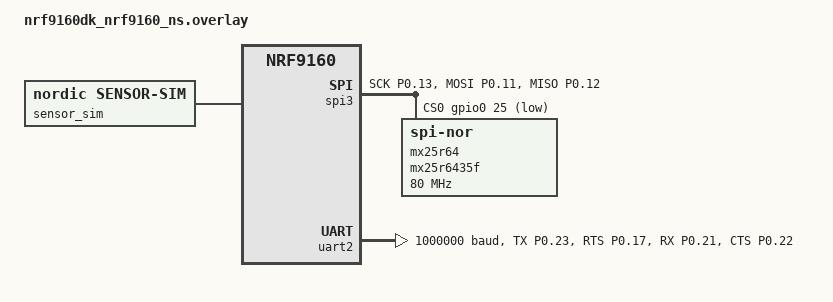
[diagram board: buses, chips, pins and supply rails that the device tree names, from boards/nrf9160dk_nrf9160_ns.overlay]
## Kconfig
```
#
# Copyright (c) 2018 Nordic Semiconductor ASA
#
# SPDX-License-Identifier: LicenseRef-Nordic-5-Clause
#

menu "Application sample"

rsource "src/ui/Kconfig"
rsource "src/modules/Kconfig"
rsource "src/lwm2m/Kconfig"

menu "LwM2M objects"
config APP_PUSH_BUTTON
	bool "Enable button(s)"
	select UI_INPUT
	select LWM2M_IPSO_PUSH_BUTTON
	select LWM2M_APP_PUSH_BUTTON


config APP_ONOFF_SWITCH
	bool "Enable switches"
	depends on BOARD_NRF9160DK_NRF9160_NS
	select UI_INPUT
	select LWM2M_IPSO_ONOFF_SWITCH
	select LWM2M_APP_ONOFF_SWITCH


menuconfig APP_LIGHT_CONTROL
	bool "Enable LED(s)"
	select UI_LED
	select LWM2M_IPSO_LIGHT_CONTROL
	select LWM2M_APP_LIGHT_CONTROL

if APP_LIGHT_CONTROL
	rsource "src/ui/Kconfig.ui_led"
endif # APP_LIGHT_CONTROL


menuconfig APP_BUZZER
	bool "Enable buzzer"
	depends on BOARD_THINGY91_NRF9160_NS
	select UI_BUZZER
	select LWM2M_APP_BUZZER


menuconfig APP_LIGHT_SENSOR
	bool "Enable light sensor"
	select LIGHT_SENSOR
	select LWM2M_IPSO_APP_COLOUR_SENSOR
	select LWM2M_APP_LIGHT_SENSOR

if APP_LIGHT_SENSOR
	rsource "src/sensors/Kconfig.light_sensor"
	rsource "src/ipso/Kconfig.ipso_colour_sensor"
endif # APP_LIGHT_SENSOR


menuconfig APP_ENV_SENSOR
	bool "Enable environment sensors"
	select ENVIRONMENT_SENSOR
	help
	  Enables options for enabling temperature, pressure, humidity and gas resistance sensors.

if APP_ENV_SENSOR
rsource "src/sensors/Kconfig.env_sensor"

config APP_TEMP_SENSOR
	bool "Enable temperature sensor"
	select LWM2M_IPSO_TEMP_SENSOR
	select LWM2M_APP_TEMP_SENSOR

config APP_PRESS_SENSOR
	bool "Enable air pressure sensor"
	select LWM2M_IPSO_PRESSURE_SENSOR
	select LWM2M_APP_PRESS_SENSOR

config APP_HUMID_SENSOR
	bool "Enable humidity sensor"
	select LWM2M_IPSO_HUMIDITY_SENSOR
	select LWM2M_APP_HUMID_SENSOR

config APP_GAS_RES_SENSOR
	bool "Enable gas resistance sensor"
	select LWM2M_IPSO_GENERIC_SENSOR
	select LWM2M_APP_GAS_RES_SENSOR
endif # APP_ENV_SENSOR


menuconfig APP_ACCELEROMETER
	bool "Enable accelerometer"
	select ACCELEROMETER
	select LWM2M_IPSO_ACCELEROMETER
	select LWM2M_APP_ACCELEROMETER

if APP_ACCELEROMETER
	rsource "src/sensors/Kconfig.accelerometer"
endif # APP_ACCELEROMETER

menuconfig APP_GPS
	bool "Enable GPS"
	select GPS
	select LWM2M_LOCATION_OBJ_SUPPORT

if APP_GPS
	rsource "src/sensors/Kconfig.gps"

config APP_GPS_HOLD_TIME
	int "Minimum time [s] between location data notification messages"
	default 60
	help
	  The minimum time in seconds that notifications can be sent to observers of the Location data.
endif # APP_GPS
endmenu # LwM2M objects

config APP_LWM2M_SERVER
	string "LwM2M server name or IP address"
	help
	  Choose the LwM2M server you wish to connect to.

config APP_LWM2M_PSK
	string "LwM2M pre-shared key for communication"
	default "000102030405060708090a0b0c0d0e0f"
	help
	  Pre Shared Key must be identical to the PSK registered with the device on the LwM2M server.
	  Use the hexadecimal representation.

config APP_ENDPOINT_PREFIX
	string "Prefix used in the endpoint name"
	default "urn:imei:"
	help
	  Sets the prefix of the endpoint name used when connecting to the LwM2M server.

config APP_SERVER_TLS_TAG
	int "LwM2M server TLS tag"
	default 35724861

config APP_BOOTSTRAP_TLS_TAG
	int "LwM2M bootstrap server TLS tag"
	default 35724862

menu "Device info"
config APP_MANUFACTURER
	string "Board manufacturer"
	default	"Nordic Semiconductor ASA"

config APP_DEVICE_TYPE
	string "Device type"
	default	"OMA-LWM2M Client"
endmenu

config APP_HOLD_TIME_RSRP
	int "Minimum time [s] between RSRP notification messages"
	default 60
	help
	  The minimum time in seconds that notifications can be sent to observers of the
	  Connectivity Monitoring data.

config APP_MCUBOOT_FLASH_BUF_SZ
	int "Size of buffer used for flash write operations during MCUboot updates"
	depends on DFU_TARGET_MCUBOOT
	default 512
	help
	  Buffer size must be aligned to the minimal flash write block size.

config APP_CUSTOM_VERSION
	string "Application version. Leave empty to use NCS version."

config APP_NEIGHBOUR_CELL_SCAN_INTERVAL
	int "Interval time [s] between neighbour cell scans"
	depends on LWM2M_CLIENT_UTILS_SIGNAL_MEAS_INFO_OBJ_SUPPORT
	default 600
	help
	  Low value on interval may reduce the performance of the system.

choice
	default LWM2M_SAMPLE_GPS_ANTENNA_ONBOARD
	prompt "Select which antenna to use for GNSS"

config LWM2M_SAMPLE_GPS_ANTENNA_ONBOARD
	bool "Use onboard antenna"

config LWM2M_SAMPLE_GPS_ANTENNA_EXTERNAL
	bool "Use external antenna"

endchoice

config LWM2M_CLIENT_SAMPLE_COEX0
	string "AT%XCOEX0 command"
	default "AT\%XCOEX0=1,1,1565,1586" if LWM2M_SAMPLE_GPS_ANTENNA_ONBOARD
	default "AT\%XCOEX0" if LWM2M_SAMPLE_GPS_ANTENNA_EXTERNAL
	help
	  Defines the AT%XCOEX0 command to be sent to GNSS module. Leave
	  empty if this command should not be sent.

module = APP
module-dep = LOG
module-str = Log level for sample
source "${ZEPHYR_BASE}/subsys/logging/Kconfig.template.log_config"
endmenu # Application sample


menu "Zephyr Kernel"
source "Kconfig.zephyr"
endmenu # Zephyr Kernel
```

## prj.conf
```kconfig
# General config
CONFIG_NEWLIB_LIBC=y
CONFIG_ASSERT=y
CONFIG_REBOOT=y

# Network
CONFIG_NETWORKING=y
CONFIG_NET_NATIVE=n
CONFIG_NET_IPV6=n
CONFIG_NET_IPV4=y
CONFIG_NET_SOCKETS=y
CONFIG_NET_SOCKETS_OFFLOAD=y

# Sensors
CONFIG_I2C=y
CONFIG_SPI=y
CONFIG_SENSOR=y

# UI
CONFIG_UI_LOG_LEVEL_DBG=y

# LwM2M and IPSO
CONFIG_LWM2M=y
CONFIG_LWM2M_COAP_BLOCK_SIZE=512
CONFIG_LWM2M_ENGINE_MAX_OBSERVER=15
CONFIG_LWM2M_ENGINE_MAX_MESSAGES=15
CONFIG_LWM2M_ENGINE_MAX_PENDING=15
CONFIG_LWM2M_ENGINE_MAX_REPLIES=15
CONFIG_LWM2M_ENGINE_DEFAULT_LIFETIME=30
CONFIG_LWM2M_DNS_SUPPORT=y
CONFIG_LWM2M_RW_JSON_SUPPORT=n
CONFIG_LWM2M_SERVER_DEFAULT_PMIN=1
CONFIG_LWM2M_SERVER_DEFAULT_PMAX=300
CONFIG_LWM2M_CLIENT_UTILS=y
CONFIG_LWM2M_CLIENT_UTILS_LOCATION_OBJ_SUPPORT=n
CONFIG_LWM2M_IPSO_SUPPORT=y

# IPSO v1.1
CONFIG_LWM2M_IPSO_TEMP_SENSOR_VERSION_1_1=y
CONFIG_LWM2M_IPSO_HUMIDITY_SENSOR_VERSION_1_1=y
CONFIG_LWM2M_IPSO_GENERIC_SENSOR_VERSION_1_1=y
CONFIG_LWM2M_IPSO_PRESSURE_SENSOR_VERSION_1_1=y
CONFIG_LWM2M_IPSO_PUSH_BUTTON_VERSION_1_1=y
CONFIG_LWM2M_IPSO_ACCELEROMETER_VERSION_1_1=y
CONFIG_LWM2M_IPSO_APP_COLOUR_SENSOR_VERSION_1_1=y

# App
CONFIG_APP_ACCELEROMETER=y
CONFIG_APP_PUSH_BUTTON=y
CONFIG_APP_ENV_SENSOR=y
CONFIG_APP_TEMP_SENSOR=y
CONFIG_APP_PRESS_SENSOR=y
CONFIG_APP_HUMID_SENSOR=y
CONFIG_APP_GAS_RES_SENSOR=y
CONFIG_APP_LIGHT_CONTROL=y
CONFIG_APP_LIGHT_SENSOR=y
CONFIG_APP_GNSS=y

# Sensor module
CONFIG_SENSOR_MODULE=n

# DTLS settings
CONFIG_LWM2M_DTLS_SUPPORT=y

# nRF9160 helper libraries
CONFIG_MODEM_KEY_MGMT=y

# Default app to debug logging
CONFIG_LOG=y
CONFIG_APP_LOG_LEVEL_DBG=y

# Expand logging memory to avoid log_strdup() errors

# Support HEX style PSK values (double the size + NULL char)
CONFIG_LWM2M_SECURITY_KEY_SIZE=33

# extend CoAP retry timing to 4 seconds for LTE/LTE-M
CONFIG_COAP_INIT_ACK_TIMEOUT_MS=4000

# Enable CoAP extended option length
CONFIG_COAP_EXTENDED_OPTIONS_LEN=y
CONFIG_COAP_EXTENDED_OPTIONS_LEN_VALUE=40

# Enable settings storage
CONFIG_SETTINGS=y
CONFIG_FCB=y
CONFIG_SETTINGS_FCB=y

# LTE link control
CONFIG_LTE_LINK_CONTROL=y
CONFIG_LTE_AUTO_INIT_AND_CONNECT=n
CONFIG_LTE_NETWORK_MODE_LTE_M_GPS=y

# Modem library
CONFIG_NRF_MODEM_LIB=y

# Modem info
CONFIG_MODEM_INFO=y
CONFIG_MODEM_INFO_ADD_DATE_TIME=n

# Enable shell
CONFIG_NET_SHELL=y

# Heap and stacks
CONFIG_HEAP_MEM_POOL_SIZE=16384
CONFIG_MAIN_STACK_SIZE=4096
CONFIG_LWM2M_ENGINE_STACK_SIZE=3072
CONFIG_SYSTEM_WORKQUEUE_STACK_SIZE=2048

# Allow FOTA downloads using download-client
CONFIG_DOWNLOAD_CLIENT=y
CONFIG_DOWNLOAD_CLIENT_STACK_SIZE=4096
CONFIG_DOWNLOAD_CLIENT_HTTP_FRAG_SIZE_1024=y
CONFIG_FOTA_DOWNLOAD=y

# Set LwM2M Server IP address here
CONFIG_LWM2M_CLIENT_UTILS_SERVER="coaps://eu.iot.avsystem.cloud:5684"

# Application Event Manager
CONFIG_APP_EVENT_MANAGER=y

# Date-Time library
CONFIG_DATE_TIME=y
CONFIG_DATE_TIME_UPDATE_INTERVAL_SECONDS=86400

CONFIG_LWM2M_VERSION_1_1=y
CONFIG_LWM2M_PORTFOLIO_OBJ_SUPPORT=y
CONFIG_BASE64=y
CONFIG_LWM2M_RW_SENML_JSON_SUPPORT=y
CONFIG_LWM2M_RW_JSON_SUPPORT=y
CONFIG_LWM2M_SECONDS_TO_UPDATE_EARLY=8
CONFIG_LWM2M_COAP_MAX_MSG_SIZE=1024
CONFIG_LWM2M_COMPOSITE_PATH_LIST_SIZE=10
```

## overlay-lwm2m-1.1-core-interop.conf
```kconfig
#Disable all modules we don't need in tests.
CONFIG_APP_ACCELEROMETER=n
CONFIG_APP_PUSH_BUTTON=n
CONFIG_APP_ENV_SENSOR=n
CONFIG_APP_TEMP_SENSOR=n
CONFIG_APP_PRESS_SENSOR=n
CONFIG_APP_HUMID_SENSOR=n
CONFIG_APP_GAS_RES_SENSOR=n
CONFIG_APP_LIGHT_CONTROL=n
CONFIG_APP_LIGHT_SENSOR=n
CONFIG_APP_ONOFF_SWITCH=n
CONFIG_APP_GNSS=n

#Disable Signal measurement and Connection monitoring objects
CONFIG_LWM2M_CLIENT_UTILS_SIGNAL_MEAS_INFO_OBJ_SUPPORT=n
CONFIG_LWM2M_CLIENT_UTILS_CONN_MON_OBJ_SUPPORT=n

#Enable Portfolio object
CONFIG_LWM2M_PORTFOLIO_OBJ_SUPPORT=y

#LwM2M v1.1 configure
CONFIG_LWM2M_VERSION_1_1=y
CONFIG_LWM2M_COAP_MAX_MSG_SIZE=1280
CONFIG_LWM2M_COMPOSITE_PATH_LIST_SIZE=10

#Enable SenML-JSON content format
CONFIG_BASE64=y
CONFIG_LWM2M_RW_SENML_JSON_SUPPORT=y

#Enable extra content format
CONFIG_LWM2M_RW_JSON_SUPPORT=y

#Enable dynamic Send Operation
CONFIG_APP_LWM2M_CONFORMANCE_TESTING=y

#Modem lib trace's control
CONFIG_NRF_MODEM_LIB_TRACE_ENABLED=n
```

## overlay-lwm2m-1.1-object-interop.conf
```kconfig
#Disable Aplication sensor Object and GNSS modules away
CONFIG_APP_ACCELEROMETER=n
CONFIG_APP_PUSH_BUTTON=n
CONFIG_APP_ENV_SENSOR=n
CONFIG_APP_TEMP_SENSOR=n
CONFIG_APP_PRESS_SENSOR=n
CONFIG_APP_HUMID_SENSOR=n
CONFIG_APP_GAS_RES_SENSOR=n
CONFIG_APP_LIGHT_CONTROL=n
CONFIG_APP_LIGHT_SENSOR=n
CONFIG_APP_ONOFF_SWITCH=n
CONFIG_APP_GNSS=n

#Enable Portfolio object
CONFIG_LWM2M_PORTFOLIO_OBJ_SUPPORT=y

#LwM2M v1.1 configure
CONFIG_LWM2M_VERSION_1_1=y
CONFIG_LWM2M_COAP_MAX_MSG_SIZE=1280
CONFIG_LWM2M_COMPOSITE_PATH_LIST_SIZE=10

#Enable SenML Json content format
CONFIG_BASE64=y
CONFIG_LWM2M_RW_SENML_JSON_SUPPORT=y

#Enable extra conten format support
CONFIG_LWM2M_RW_JSON_SUPPORT=y

#Enable Dynamically Send Operation
CONFIG_APP_LWM2M_CONFORMANCE_TESTING=y

#Modem lib trace's control
CONFIG_NRF_MODEM_LIB_TRACE_ENABLED=n
```

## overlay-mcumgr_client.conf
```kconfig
# Enable mcumgr server and client
CONFIG_MCUMGR=y
CONFIG_MCUMGR_CLIENT=y

# Ensure an MCUboot-compatible binary is generated.
CONFIG_BOOTLOADER_MCUBOOT=y

# Enable flash operations.
CONFIG_FLASH=y

# Required by the `taskstat` command.
CONFIG_THREAD_MONITOR=n

# Support for taskstat command
CONFIG_OS_MGMT_TASKSTAT=n

# Enable statistics and statistic names.
CONFIG_STATS=n
CONFIG_STATS_NAMES=n

# Enable most core commands.
CONFIG_MCUMGR_CMD_IMG_MGMT=y
CONFIG_MCUMGR_CMD_OS_MGMT=y
CONFIG_MCUMGR_CMD_STAT_MGMT=n

# Enable the serial mcumgr transport.
CONFIG_MCUMGR_SMP_UART=y
CONFIG_DFU_TARGET_SMP=y
CONFIG_UART_MCUMGR_RX_BUF_COUNT=4
# Add more recors to SENML CBOR
CONFIG_LWM2M_RW_SENML_CBOR_RECORDS=55
# Extend System Workqueue stack size
CONFIG_SYSTEM_WORKQUEUE_STACK_SIZE=2304
```

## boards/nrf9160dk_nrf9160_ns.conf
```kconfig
## nRF9160DK-specific config settings ##
# Sensors
CONFIG_ACCEL_USE_SIM=y
CONFIG_ACCEL_CALIBRATE_ON_STARTUP=n
CONFIG_ENV_SENSOR_USE_SIM=y
CONFIG_LIGHT_SENSOR_USE_SIM=y
CONFIG_LIGHT_SENSOR_LIGHT_MEASUREMENT_MAX_VALUE=300
CONFIG_LIGHT_SENSOR_COLOUR_MEASUREMENT_MAX_VALUE=300

# IPSO
CONFIG_LWM2M_IPSO_LIGHT_CONTROL_INSTANCE_COUNT=4
CONFIG_LWM2M_IPSO_PUSH_BUTTON_INSTANCE_COUNT=2
CONFIG_LWM2M_IPSO_ONOFF_SWITCH_INSTANCE_COUNT=2

# IPSO v1.1
CONFIG_LWM2M_IPSO_ONOFF_SWITCH_VERSION_1_1=y

# App
CONFIG_APP_ONOFF_SWITCH=y

# External flash
CONFIG_SPI=y
CONFIG_SPI_NOR=y
CONFIG_STREAM_FLASH=y
CONFIG_STREAM_FLASH_ERASE=y
CONFIG_FLASH=y

# Modem library
CONFIG_NRF_MODEM_LIB_SYS_INIT=n

# Full modem update
CONFIG_DFU_TARGET_FULL_MODEM=y
CONFIG_FMFU_FDEV=y
CONFIG_ZCBOR=y
CONFIG_MODEM_INFO=y
CONFIG_FMFU_FDEV_SKIP_PREVALIDATION=n

# Crypto
CONFIG_OBERON_BACKEND=y
CONFIG_NORDIC_SECURITY_BACKEND=y
# Disable all non-used crypto
CONFIG_NRF_SECURITY_RNG=n
CONFIG_MBEDTLS_CHACHA20_C=n
CONFIG_MBEDTLS_POLY1305_C=n
CONFIG_MBEDTLS_ECP_C=n
CONFIG_MBEDTLS_RSA_C=n
CONFIG_MBEDTLS_DHM_C=n
CONFIG_MBEDTLS_SHA1_C=n
CONFIG_MBEDTLS_SHA384_C=n
CONFIG_MBEDTLS_SHA512_C=n
# This is the one we need
CONFIG_MBEDTLS_SHA256_C=y
```

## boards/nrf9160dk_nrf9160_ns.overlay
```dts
/*
 * Copyright (c) 2021 Nordic Semiconductor ASA
 *
 * SPDX-License-Identifier: LicenseRef-Nordic-5-Clause
 */

/ {
	sensor_sim: sensor-sim {
		compatible = "nordic,sensor-sim";
		acc-signal = "wave";
	};
};

&spi3 {
	compatible = "nordic,nrf-spim";
	status = "okay";
	pinctrl-0 = <&spi3_default_alt>;
	pinctrl-1 = <&spi3_sleep_alt>;
	pinctrl-names = "default", "sleep";
	cs-gpios = <&gpio0 25 GPIO_ACTIVE_LOW>;
	mx25r64: mx25r6435f@0 {
		compatible = "jedec,spi-nor";
		reg = <0>;
		spi-max-frequency = <80000000>;
		jedec-id = [c2 28 17];
		size = <67108864>;
	};
};

&uart2 {
	compatible = "nordic,nrf-uarte";
	current-speed = <1000000>;
	status = "okay";
	pinctrl-0 = <&uart2_default>;
	pinctrl-1 = <&uart2_sleep>;
	pinctrl-names = "default", "sleep";
};

&i2c2 {
	status = "disabled";
};

&pinctrl {
	spi3_default_alt: spi3_default_alt {
		group1 {
			psels = <NRF_PSEL(SPIM_SCK, 0, 13)>,
				<NRF_PSEL(SPIM_MOSI, 0, 11)>,
				<NRF_PSEL(SPIM_MISO, 0, 12)>;
		};
	};

	spi3_sleep_alt: spi3_sleep_alt {
		group1 {
			psels = <NRF_PSEL(SPIM_SCK, 0, 13)>,
				<NRF_PSEL(SPIM_MOSI, 0, 11)>,
				<NRF_PSEL(SPIM_MISO, 0, 12)>;
			low-power-enable;
		};
	};

	uart2_default: uart2_default {
		group1 {
			psels = <NRF_PSEL(UART_TX, 0, 23)>,
				<NRF_PSEL(UART_RTS, 0, 17)>;
		};
		group2 {
			psels = <NRF_PSEL(UART_RX, 0, 21)>,
				<NRF_PSEL(UART_CTS, 0, 22)>;
			bias-pull-up;
		};
	};

	uart2_sleep: uart2_sleep {
		group1 {
			psels =<NRF_PSEL(UART_TX, 0, 23)>,
				<NRF_PSEL(UART_RX, 0, 21)>,
				<NRF_PSEL(UART_RTS, 0, 17)>,
				<NRF_PSEL(UART_CTS, 0, 22)>;
			low-power-enable;
		};
	};
};

/ {
	aliases {
		serial-in = &uart0;
		serial-out = &uart2;
	};
};

/ {
        chosen {
                zephyr,console = &uart0;
                zephyr,shell-uart = &uart0;
                zephyr,uart-mcumgr = &uart2;
        };
};
```

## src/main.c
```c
/*
 * Copyright (c) 2019 Nordic Semiconductor ASA
 *
 * SPDX-License-Identifier: LicenseRef-Nordic-5-Clause
 */

#include <zephyr/kernel.h>
#include <ctype.h>
#include <zephyr/drivers/gpio.h>
#include <stdio.h>
#include <zephyr/net/lwm2m.h>
#include <modem/nrf_modem_lib.h>
#include <zephyr/settings/settings.h>

#include <net/lwm2m_client_utils.h>
#include <app_event_manager.h>
#include <net/lwm2m_client_utils_location.h>
#include <date_time.h>

#include <zephyr/logging/log.h>
LOG_MODULE_REGISTER(app_lwm2m_client, CONFIG_APP_LOG_LEVEL);

#include <modem/lte_lc.h>
#include <modem/modem_info.h>
#include <nrf_modem_at.h>

#include "lwm2m_client_app.h"
#include "lwm2m_app_utils.h"
#include "sensor_module.h"
#include "gnss_module.h"
#include "lwm2m_engine.h"
#include "location_events.h"

#if defined(CONFIG_LWM2M_CLIENT_UTILS_LOCATION_ASSISTANCE)
#include "ui_input.h"
#include "ui_input_event.h"
#endif

#if !defined(CONFIG_LTE_LINK_CONTROL)
#error "Missing CONFIG_LTE_LINK_CONTROL"
#endif

#define APP_BANNER "Run LWM2M client"

#define IMEI_LEN 15
#define ENDPOINT_NAME_LEN (IMEI_LEN + sizeof(CONFIG_APP_ENDPOINT_PREFIX) + 1)

#define LWM2M_SECURITY_PRE_SHARED_KEY 0
#define LWM2M_SECURITY_RAW_PUBLIC_KEY 1
#define LWM2M_SECURITY_CERTIFICATE 2
#define LWM2M_SECURITY_NO_SEC 3

/* Client State Machine states */
static enum client_state {
	START,		/* Start Connection to a server*/
	CONNECTING,	/* LwM2M engine is connecting to server */
	BOOTSTRAP,	/* LwM2M engine is doing a bootstrap */
	CONNECTED,	/* LwM2M Client connection establisment to server */
	LTE_OFFLINE,	/* LTE offline and LwM2M engine should be suspended */
	UPDATE_FIRMWARE, /* Prepare app ready for firmware update */
	NETWORK_ERROR	/* Client network error handling. Client stop and modem reset */
} client_state = START;

static uint8_t endpoint_name[ENDPOINT_NAME_LEN + 1];
static uint8_t imei_buf[IMEI_LEN + sizeof("\r\nOK\r\n")];
static struct lwm2m_ctx client = {0};
static bool reconnect;
static K_SEM_DEFINE(state_mutex, 0, 1);
static K_MUTEX_DEFINE(lte_mutex);
static bool modem_connected_to_network;
/* Enable session lifetime check for initial boot */
static bool update_session_lifetime = true;
static bool ready_for_firmware_update;

static void rd_client_event(struct lwm2m_ctx *client, enum lwm2m_rd_client_event client_event);

void client_acknowledge(void)
{
	lwm2m_acknowledge(&client);
}

#if defined(CONFIG_LWM2M_CLIENT_UTILS_SIGNAL_MEAS_INFO_OBJ_SUPPORT)
static struct k_work_delayable ncell_meas_work;
void ncell_meas_work_handler(struct k_work *work)
{
	lwm2m_ncell_schedule_measurement();
	k_work_schedule(&ncell_meas_work, K_SECONDS(CONFIG_APP_NEIGHBOUR_CELL_SCAN_INTERVAL));
}
#endif
#if defined(CONFIG_LWM2M_CLIENT_UTILS_VISIBLE_WIFI_AP_OBJ_SUPPORT)
static struct k_work_delayable ground_fix_work;
void ground_fix_work_handler(struct k_work *work)
{
	LOG_INF("Send ground fix location request event");
	struct ground_fix_location_request_event *ground_fix_event =
	new_ground_fix_location_request_event();

	APP_EVENT_SUBMIT(ground_fix_event);
}
#endif

#if defined(CONFIG_LWM2M_CLIENT_UTILS_LOCATION_ASSISTANCE)
static bool button_callback(const struct app_event_header *aeh)
{
	if (is_ui_input_event(aeh)) {
		struct ui_input_event *event = cast_ui_input_event(aeh);

		if (event->type != PUSH_BUTTON || event->state == 0) {
			return false;
		}

		switch (event->device_number) {
		case 1:
#if defined(CONFIG_LWM2M_CLIENT_UTILS_LOCATION_ASSIST_AGPS) || \
defined(CONFIG_LWM2M_CLIENT_UTILS_LOCATION_ASSIST_PGPS)
			LOG_INF("Starting GNSS");
			start_gnss();
#else
			LOG_INF("A-GPS not enabled");
#endif
			break;
		case 2:
#if defined(CONFIG_LWM2M_CLIENT_UTILS_GROUND_FIX_OBJ_SUPPORT)
			LOG_INF("Send cell location request event");
			struct ground_fix_location_request_event *ground_fix_event =
				new_ground_fix_location_request_event();

			APP_EVENT_SUBMIT(ground_fix_event);
#else
			LOG_INF("Ground fix location not enabled");
#endif
			break;
		}
	}
	return false;
}


APP_EVENT_LISTENER(app_lwm2m_client, button_callback);
APP_EVENT_SUBSCRIBE(app_lwm2m_client, ui_input_event);
#endif

#if defined(CONFIG_APP_LWM2M_CONFORMANCE_TESTING)
static struct k_work_delayable send_periodical_work;
static uint8_t send_count = 0;

static int server_send_mute_cb(uint16_t obj_inst_id, uint16_t res_id, uint16_t res_inst_id, uint8_t *data,
			uint16_t data_len, bool last_block, size_t total_size)
{
	if (*data) {
		LOG_INF("Server Muted Send");
	} else {

		if (send_count == 0) {
			LOG_INF("Server Activate Send");
			send_count = 5;
			k_work_schedule(&send_periodical_work, K_SECONDS(1));
		}
	}

	return 0;
}

static void lwm2m_register_server_send_mute_cb(void)
{
	int ret;
	lwm2m_engine_set_data_cb_t cb;

	cb = server_send_mute_cb;
	ret = lwm2m_register_post_write_callback(&LWM2M_OBJ(1, client.srv_obj_inst, 23), cb);
	if (ret) {
		LOG_ERR("Send enable CB fail %d", ret);
	}
}

void send_periodically_work_handler(struct k_work *work)
{
	int ret;
	const struct lwm2m_obj_path send_path[4] = {
		LWM2M_OBJ(3, 0, 0),
		LWM2M_OBJ(3, 0, 3),
		LWM2M_OBJ(3, 0, 13),
		LWM2M_OBJ(3, 0, 19),
	};

	/* lwm2m send post to server */
	ret = lwm2m_send(&client, send_path, 4, true);
	if (ret) {
		if (ret == EPERM) {
			LOG_INF("Server Mute send block send operation");
		} else {
			LOG_INF("Periodically SEND test data fail %d", ret);
		}
	}

	if (send_count) {
		if (ret == 0) {
			send_count--;
		}

		k_work_schedule(&send_periodical_work, K_SECONDS(15));
	}
}
#endif

static void state_trigger_and_unlock(enum client_state new_state)
{
	if (new_state != client_state) {
		client_state = new_state;
		k_sem_give(&state_mutex);
	}
	k_mutex_unlock(&lte_mutex);
}

#if defined(CONFIG_LWM2M_CLIENT_UTILS_FIRMWARE_UPDATE_OBJ_SUPPORT)
static int lwm2m_firmware_event_cb(struct lwm2m_fota_event *event)
{
	k_mutex_lock(&lte_mutex, K_FOREVER);
	switch (event->id) {
	case LWM2M_FOTA_DOWNLOAD_START:
		LOG_INF("FOTA download started for instance %d", event->download_start.obj_inst_id);
		break;
	/** FOTA download process finished */
	case LWM2M_FOTA_DOWNLOAD_FINISHED:
		LOG_INF("FOTA download ready for instance %d, dfu_type %d",
			event->download_ready.obj_inst_id, event->download_ready.dfu_type);
		break;
	/** FOTA update new image */
	case LWM2M_FOTA_UPDATE_IMAGE_REQ:
		if (!ready_for_firmware_update && event->update_req.obj_inst_id < 2) {
			state_trigger_and_unlock(UPDATE_FIRMWARE);
			/* Postpone request by 2 seconds */
			return 2;
		}
		LOG_INF("FOTA Update request for instance %d", event->update_req.obj_inst_id);

		break;
	/** Fota process fail or cancelled  */
	case LWM2M_FOTA_UPDATE_ERROR:
		LOG_INF("FOTA failure %d by status %d", event->failure.obj_inst_id,
			event->failure.update_failure);
		break;
	}
	k_mutex_unlock(&lte_mutex);
	return 0;
}
#endif

static int lwm2m_setup(void)
{
#if defined(CONFIG_LWM2M_CLIENT_UTILS_DEVICE_OBJ_SUPPORT)
	/* Manufacturer independent */
	lwm2m_init_device();
#endif

	/* Manufacturer dependent */
	/* use IMEI as serial number */
	lwm2m_app_init_device(imei_buf);
	lwm2m_init_security(&client, endpoint_name, NULL);

	if (sizeof(CONFIG_APP_LWM2M_PSK) > 1) {
		/* Write hard-coded PSK key to engine */
		/* First security instance is the right one, because in bootstrap mode, */
		/* it is the bootstrap PSK. In normal mode, it is the server key */
		lwm2m_security_set_psk(0, CONFIG_APP_LWM2M_PSK, sizeof(CONFIG_APP_LWM2M_PSK), true,
				       endpoint_name);
	}

#if defined(CONFIG_LWM2M_CLIENT_UTILS_FIRMWARE_UPDATE_OBJ_SUPPORT)
	lwm2m_init_firmware_cb(lwm2m_firmware_event_cb);
#endif
#if defined(CONFIG_LWM2M_APP_LIGHT_CONTROL)
	lwm2m_init_light_control();
#endif
#if defined(CONFIG_LWM2M_APP_TEMP_SENSOR)
	lwm2m_init_temp_sensor();
#endif
#if defined(CONFIG_LWM2M_APP_PRESS_SENSOR)
	lwm2m_init_press_sensor();
#endif
#if defined(CONFIG_LWM2M_APP_HUMID_SENSOR)
	lwm2m_init_humid_sensor();
#endif
#if defined(CONFIG_LWM2M_APP_GAS_RES_SENSOR)
	lwm2m_init_gas_res_sensor();
#endif
#if defined(CONFIG_LWM2M_APP_BUZZER)
	lwm2m_init_buzzer();
#endif
#if defined(CONFIG_LWM2M_APP_PUSH_BUTTON)
	lwm2m_init_push_button();
#endif
#if defined(CONFIG_LWM2M_APP_ONOFF_SWITCH)
	lwm2m_init_onoff_switch();
#endif
#if defined(CONFIG_LWM2M_APP_ACCELEROMETER)
	lwm2m_init_accel();
#endif
#if defined(CONFIG_LWM2M_APP_LIGHT_SENSOR)
	lwm2m_init_light_sensor();
#endif
#if defined(CONFIG_LWM2M_PORTFOLIO_OBJ_SUPPORT)
	lwm2m_init_portfolio_object();
#endif
#if defined(CONFIG_LWM2M_CLIENT_UTILS_LOCATION_ASSISTANCE)
	location_event_handler_init(&client);
	location_assistance_init_resend_handler();
#endif
#if defined(CONFIG_LWM2M_CLIENT_UTILS_CELL_CONN_OBJ_SUPPORT)
	lwm2m_init_cellular_connectivity_object();
#endif
	if (IS_ENABLED(CONFIG_LWM2M_CLIENT_UTILS_RAI)) {
		lwm2m_init_rai();
	}
	if (IS_ENABLED(CONFIG_LTE_LC_TAU_PRE_WARNING_NOTIFICATIONS) ||
	    IS_ENABLED(CONFIG_LWM2M_CLIENT_UTILS_NEIGHBOUR_CELL_LISTENER)) {
		lwm2m_ncell_handler_register();
	}

	return 0;
}

static void date_time_event_handler(const struct date_time_evt *evt)
{
	switch (evt->type) {
	case DATE_TIME_OBTAINED_MODEM: {
		int64_t time = 0;

		LOG_INF("Obtained date-time from modem");
		date_time_now(&time);
		lwm2m_set_s32(&LWM2M_OBJ(LWM2M_OBJECT_DEVICE_ID, 0, CURRENT_TIME_RID),
				     (int32_t)(time / 1000));
		break;
	}

	case DATE_TIME_OBTAINED_NTP: {
		int64_t time = 0;

		LOG_INF("Obtained date-time from NTP server");
		date_time_now(&time);
		lwm2m_set_s32(&LWM2M_OBJ(LWM2M_OBJECT_DEVICE_ID, 0, CURRENT_TIME_RID),
				     (int32_t)(time / 1000));
		break;
	}

	case DATE_TIME_NOT_OBTAINED:
		LOG_INF("Could not obtain date-time update");
		break;

	default:
		break;
	}
}

static void rd_client_update_lifetime(int srv_obj_inst)
{
	uint32_t current_lifetime = 0;

	uint32_t lifetime = CONFIG_LWM2M_ENGINE_DEFAULT_LIFETIME;

	struct lwm2m_obj_path path = LWM2M_OBJ(1, srv_obj_inst, 1);

	lwm2m_get_u32(&path, &current_lifetime);

	if (current_lifetime != lifetime) {
		/* SET Configured value */
		lwm2m_set_u32(&path, lifetime);
		LOG_DBG("Update session lifetime from %d to %d", current_lifetime, lifetime);
	}
	update_session_lifetime = false;
}

static void state_set_and_unlock(enum client_state new_state)
{
	client_state = new_state;
	k_mutex_unlock(&lte_mutex);
}

static void rd_client_event(struct lwm2m_ctx *client, enum lwm2m_rd_client_event client_event)
{
	k_mutex_lock(&lte_mutex, K_FOREVER);

	if (client_state == LTE_OFFLINE &&
	    client_event != LWM2M_RD_CLIENT_EVENT_ENGINE_SUSPENDED) {
		LOG_DBG("Drop network event %d at LTE offline state", client_event);
		k_mutex_unlock(&lte_mutex);
		return;
	}

	switch (client_event) {
	case LWM2M_RD_CLIENT_EVENT_NONE:
		/* do nothing */
		k_mutex_unlock(&lte_mutex);
		break;

	case LWM2M_RD_CLIENT_EVENT_BOOTSTRAP_REG_FAILURE:
		LOG_DBG("Bootstrap registration failure!");
		state_trigger_and_unlock(NETWORK_ERROR);
		break;

	case LWM2M_RD_CLIENT_EVENT_BOOTSTRAP_REG_COMPLETE:
		LOG_DBG("Bootstrap registration complete");
		update_session_lifetime = true;
		state_trigger_and_unlock(BOOTSTRAP);
		break;

	case LWM2M_RD_CLIENT_EVENT_BOOTSTRAP_TRANSFER_COMPLETE:
		LOG_DBG("Bootstrap transfer complete");
		k_mutex_unlock(&lte_mutex);
		break;

	case LWM2M_RD_CLIENT_EVENT_REGISTRATION_FAILURE:
		LOG_WRN("Registration failure!");
		state_trigger_and_unlock(NETWORK_ERROR);
		break;

	case LWM2M_RD_CLIENT_EVENT_REGISTRATION_COMPLETE:
		LOG_DBG("Registration complete");
		state_trigger_and_unlock(CONNECTED);
		break;

	case LWM2M_RD_CLIENT_EVENT_REG_TIMEOUT:
		LOG_DBG("Registration update failure!");
		state_trigger_and_unlock(NETWORK_ERROR);
		break;

	case LWM2M_RD_CLIENT_EVENT_REG_UPDATE_COMPLETE:
		LOG_DBG("Registration update complete");
		state_trigger_and_unlock(CONNECTED);
		break;

	case LWM2M_RD_CLIENT_EVENT_DEREGISTER_FAILURE:
		LOG_DBG("Deregister failure!");
		reconnect = true;
		state_trigger_and_unlock(NETWORK_ERROR);
		break;

	case LWM2M_RD_CLIENT_EVENT_DISCONNECT:
		LOG_DBG("Disconnected");
		if (client_state != UPDATE_FIRMWARE) {
			state_set_and_unlock(START);
		}

		break;

	case LWM2M_RD_CLIENT_EVENT_QUEUE_MODE_RX_OFF:
		LOG_DBG("Queue mode RX window closed");
		if (IS_ENABLED(CONFIG_LWM2M_CLIENT_UTILS_RAI)) {
			lwm2m_rai_last();
		}
		k_mutex_unlock(&lte_mutex);
		break;

	case LWM2M_RD_CLIENT_EVENT_ENGINE_SUSPENDED:
		LOG_DBG("LwM2M engine suspended");
		k_mutex_unlock(&lte_mutex);
		break;

	case LWM2M_RD_CLIENT_EVENT_NETWORK_ERROR:
		LOG_ERR("LwM2M engine reported a network error.");
		reconnect = true;
		state_trigger_and_unlock(NETWORK_ERROR);
		break;
	}
}

static void modem_connect(void)
{
	int ret;

#if defined(CONFIG_LWM2M_QUEUE_MODE_ENABLED)
	if (!IS_ENABLED(CONFIG_LTE_EDRX_REQ)) {
		ret = lte_lc_edrx_req(false);
		if (ret < 0) {
			LOG_ERR("EDRX request error %d", ret);
		}
	}

	ret = lte_lc_psm_req(true);
	if (ret < 0) {
		LOG_ERR("lte_lc_psm_req, error: (%d)", ret);
	} else {
		LOG_INF("PSM mode requested");
	}
#endif

	do {

		LOG_INF("Connecting to network.");
		LOG_INF("This may take several minutes.");

		ret = lte_lc_connect();
		if (ret < 0) {
			LOG_WRN("Failed to establish LTE connection (%d).", ret);
			LOG_WRN("Will retry in a minute.");
			lte_lc_offline();
			k_sleep(K_SECONDS(60));
		} else {
			enum lte_lc_lte_mode mode;

			lte_lc_lte_mode_get(&mode);
			if (mode == LTE_LC_LTE_MODE_NBIOT) {
				LOG_INF("Connected to NB-IoT network");
			} else if (mode == LTE_LC_LTE_MODE_LTEM) {
				LOG_INF("Connected to LTE network");
			} else  {
				LOG_INF("Connected to unknown network");
			}
		}
	} while (ret < 0);
}

static bool lte_connected(enum lte_lc_nw_reg_status nw_reg_status)
{
	if ((nw_reg_status == LTE_LC_NW_REG_REGISTERED_HOME) ||
	    (nw_reg_status == LTE_LC_NW_REG_REGISTERED_ROAMING)) {
		return true;
	}

	return false;
}

static void lwm2m_lte_reg_handler_notify(enum lte_lc_nw_reg_status nw_reg_status)
{
	bool lte_registered;

	LOG_DBG("LTE NW status: %d", nw_reg_status);
	k_mutex_lock(&lte_mutex, K_FOREVER);
	lte_registered = lte_connected(nw_reg_status);
	if (lte_registered != modem_connected_to_network) {
		modem_connected_to_network = lte_registered;
		if (client_state != START && client_state != BOOTSTRAP &&
		    client_state != UPDATE_FIRMWARE) {
			k_sem_give(&state_mutex);
		}
	}
	k_mutex_unlock(&lte_mutex);
}

static void lte_notify_handler(const struct lte_lc_evt *const evt)
{
	switch (evt->type) {
	case LTE_LC_EVT_NW_REG_STATUS:
		lwm2m_lte_reg_handler_notify(evt->nw_reg_status);
		break;
	default:
		break;
	}
}

static void suspend_lwm2m_engine(void)
{
	int ret;

	state_trigger_and_unlock(LTE_OFFLINE);
	ret = lwm2m_engine_pause();
	if (ret) {
		LOG_ERR("LwM2M engine pause fail %d", ret);
		reconnect = true;
		k_mutex_lock(&lte_mutex, K_FOREVER);
		state_trigger_and_unlock(NETWORK_ERROR);
	}
}

void main(void)
{
	int ret;
	uint32_t bootstrap_flags = 0;

	LOG_INF(APP_BANNER);

#if !defined(CONFIG_NRF_MODEM_LIB_SYS_INIT)
	ret = nrf_modem_lib_init(NORMAL_MODE);
	if (ret < 0) {
		LOG_ERR("Unable to init modem library (%d)", ret);
		return;
	}
#endif

	ret = app_event_manager_init();
	if (ret) {
		LOG_ERR("Unable to init Application Event Manager (%d)", ret);
		return;
	}

	LOG_INF("Initializing modem.");
	ret = lte_lc_init();
	if (ret < 0) {
		LOG_ERR("Unable to init modem (%d)", ret);
		return;
	}

	lte_lc_register_handler(lte_notify_handler);

	ret = modem_info_init();
	if (ret < 0) {
		LOG_ERR("Unable to init modem_info (%d)", ret);
		return;
	}

	/* query IMEI */
	ret = modem_info_string_get(MODEM_INFO_IMEI, imei_buf, sizeof(imei_buf));
	if (ret < 0) {
		LOG_ERR("Unable to get IMEI");
		return;
	}

	/* use IMEI as unique endpoint name */
	snprintk(endpoint_name, sizeof(endpoint_name), "%s%s", CONFIG_APP_ENDPOINT_PREFIX,
		 imei_buf);
	LOG_INF("endpoint: %s", (char *)endpoint_name);

	/* Setup LwM2M */
	ret = lwm2m_setup();
	if (ret < 0) {
		LOG_ERR("Failed to setup LWM2M fields (%d)", ret);
		return;
	}

#if defined(CONFIG_LWM2M_CLIENT_UTILS_FIRMWARE_UPDATE_OBJ_SUPPORT)
	ret = lwm2m_init_image();
	if (ret < 0) {
		LOG_ERR("Failed to setup image properties (%d)", ret);
		return;
	}
#endif

	modem_connect();

#if defined(CONFIG_APP_GNSS)
	initialise_gnss();
#endif

#ifdef CONFIG_SENSOR_MODULE
	ret = sensor_module_init();
	if (ret) {
		LOG_ERR("Could not initialize sensor module (%d)", ret);
	}
#endif

#if defined(CONFIG_LWM2M_CLIENT_UTILS_SIGNAL_MEAS_INFO_OBJ_SUPPORT)
	k_work_init_delayable(&ncell_meas_work, ncell_meas_work_handler);
	k_work_schedule(&ncell_meas_work, K_SECONDS(1));
#endif
#if defined(CONFIG_LWM2M_CLIENT_UTILS_VISIBLE_WIFI_AP_OBJ_SUPPORT)
	k_work_init_delayable(&ground_fix_work, ground_fix_work_handler);
	k_work_schedule(&ground_fix_work, K_SECONDS(60));
#if defined(CONFIG_LWM2M_CLIENT_UTILS_WIFI_AP_SCANNER)
	lwm2m_wifi_request_scan();
#endif
#endif
#if defined(CONFIG_APP_LWM2M_CONFORMANCE_TESTING)
	k_work_init_delayable(&send_periodical_work, send_periodically_work_handler);
#endif

	while (true) {
		if (lwm2m_security_needs_bootstrap()) {
			bootstrap_flags = LWM2M_RD_CLIENT_FLAG_BOOTSTRAP;
		} else {
			bootstrap_flags = 0;
		}

		k_mutex_lock(&lte_mutex, K_FOREVER);

		switch (client_state) {
		case START:
			LOG_INF("Client connect to server");
			state_set_and_unlock(CONNECTING);
			lwm2m_rd_client_start(&client, endpoint_name, bootstrap_flags,
					      rd_client_event, NULL);
			break;

		case BOOTSTRAP:
			state_set_and_unlock(BOOTSTRAP);
			LOG_INF("LwM2M is boosttrapping");
			break;

		case CONNECTING:
			LOG_INF("LwM2M is connecting to server");
			k_mutex_unlock(&lte_mutex);
			break;

		case CONNECTED:
			if (!modem_connected_to_network) {
				/* LTE connection down suspend LwM2M engine */
				suspend_lwm2m_engine();
			} else {
				k_mutex_unlock(&lte_mutex);
				LOG_INF("LwM2M is connected to server");
				if (update_session_lifetime) {
					/* Read a current server  lifetime value */
					rd_client_update_lifetime(client.srv_obj_inst);
				}

#if defined(CONFIG_APP_LWM2M_CONFORMANCE_TESTING)
				lwm2m_register_server_send_mute_cb();
#endif
				/* Get current time and date */
				date_time_update_async(date_time_event_handler);
			}
			break;

		case LTE_OFFLINE:
			if (modem_connected_to_network) {
				state_trigger_and_unlock(CONNECTING);
				LOG_INF("Resume LwM2M engine");
				ret = lwm2m_engine_resume();
				if (ret) {
					LOG_ERR("LwM2M engine Resume fail %d", ret);
				}
			} else {
				LOG_INF("LTE Offline");
				k_mutex_unlock(&lte_mutex);
			}
			break;
		case UPDATE_FIRMWARE:
			LOG_INF("Prepare for Firmware update: Stop client and disbale Modem");
			k_mutex_unlock(&lte_mutex);
			lwm2m_rd_client_stop(&client, NULL, false);
			ret = lte_lc_offline();
			if (ret < 0) {
				LOG_ERR("Failed to put LTE link in offline state (%d)", ret);
			}
			ready_for_firmware_update = true;
			LOG_INF("App ready for firmware update");
			break;

		case NETWORK_ERROR:
			/* Stop the LwM2M engine. */
			state_trigger_and_unlock(START);
			lwm2m_rd_client_stop(&client, rd_client_event, false);

			/* Set network state to start for blocking LTE */
			if (reconnect) {
				reconnect = false;

				LOG_INF("LwM2M restart requested. The sample will try to"
					" re-establish network connection.");

				/* Try to reconnect to the network. */
				ret = lte_lc_offline();
				if (ret < 0) {
					LOG_ERR("Failed to put LTE link in offline state (%d)",
						ret);
				}
				modem_connect();
			}
#if defined(CONFIG_APP_LWM2M_CONFORMANCE_TESTING)
			k_work_cancel_delayable(&send_periodical_work);
			send_count = 0;
#endif
			break;
		}

		/* Wait for statmachine update event */
		k_sem_take(&state_mutex, K_FOREVER);
	}
}
```
